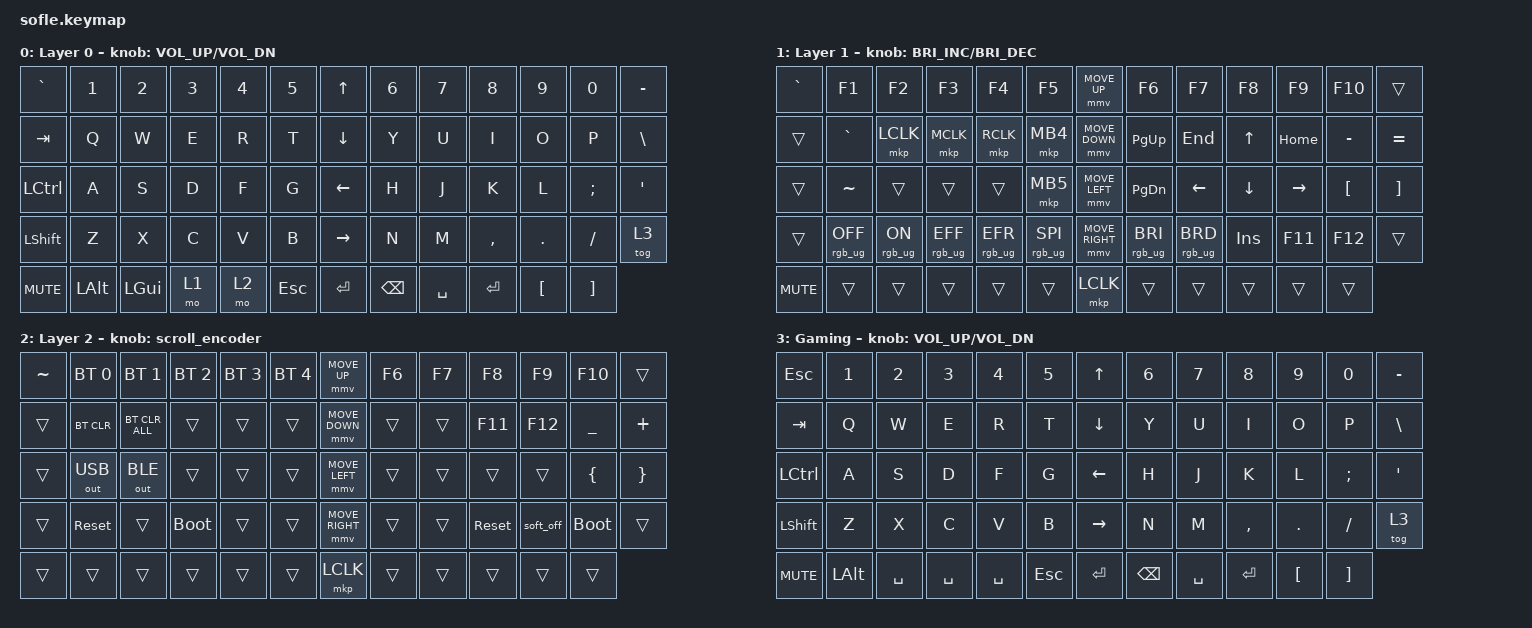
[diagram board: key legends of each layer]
#include <behaviors/mouse_keys.dtsi>
#include <behaviors.dtsi>
#include <dt-bindings/zmk/bt.h>
#include <dt-bindings/zmk/keys.h>
#include <dt-bindings/zmk/mouse.h>
#include <dt-bindings/zmk/outputs.h>
#include <dt-bindings/zmk/rgb.h>

#define ZMK_MOUSE_DEFAULT_MOVE_VAL 1200  // 600
#define ZMK_MOUSE_DEFAULT_SCRL_VAL 20    // 10
#define U_MS_U &mmv MOVE_UP
#define U_MS_D &mmv MOVE_DOWN
#define U_MS_L &mmv MOVE_LEFT
#define U_MS_R &mmv MOVE_RIGHT
#define ZMK_MOUSE_DEFAULT_MOVE_VAL 1200  //  600
#define ZMK_MOUSE_DEFAULT_SCRL_VAL 20    // 10

/ {
    behaviors {
        mmv {
            acceleration-exponent = <1>;      // 1
            time-to-max-speed-ms = <900>;    // 40
            delay-ms = <0>;                   // 0
        };

        msc {
            acceleration-exponent = <1>;      // 0
            time-to-max-speed-ms = <400>;      // 500
            delay-ms = <0>;                   //   10
        };
    };

    scroll_encoder: scroll_encoder {
        compatible = "zmk,behavior-sensor-rotate";
        #sensor-binding-cells = <0>;
        bindings = <&msc SCRL_DOWN>, <&msc SCRL_UP>;

        tap-ms = <30>;
    };

    keymap {
        compatible = "zmk,keymap";

        layer_0 {
            bindings = <
&kp GRAVE         &kp N1        &kp N2        &kp N3  &kp N4  &kp N5        &kp UP_ARROW     &kp N6         &kp N7     &kp N8     &kp N9    &kp N0    &kp MINUS
&kp TAB           &kp Q         &kp W         &kp E   &kp R   &kp T         &kp DOWN_ARROW   &kp Y          &kp U      &kp I      &kp O     &kp P     &kp BSLH
&kp LEFT_CONTROL  &kp A         &kp S         &kp D   &kp F   &kp G         &kp LEFT_ARROW   &kp H          &kp J      &kp K      &kp L     &kp SEMI  &kp APOS
&kp LSHFT         &kp Z         &kp X         &kp C   &kp V   &kp B         &kp RIGHT_ARROW  &kp N          &kp M      &kp COMMA  &kp DOT   &kp FSLH  &tog 3
&kp C_MUTE        &kp LEFT_ALT  &kp LEFT_GUI  &mo 1   &mo 2   &kp ESCAPE    &kp ENTER        &kp BACKSPACE  &kp SPACE  &kp ENTER  &kp LBKT  &kp RBKT
            >;

            sensor-bindings = <&inc_dec_kp C_VOLUME_UP C_VOL_DN>;
            display-name = "Layer 0";
        };

        layer_1 {
            bindings = <
&kp GRAVE   &kp F1           &kp F2          &kp F3           &kp F4           &kp F5             &mmv MOVE_UP     &kp F6           &kp F7           &kp F8      &kp F9     &kp F10           &trans
&trans      &kp GRAVE        &mkp LCLK       &mkp MCLK        &mkp RCLK        &mkp MB4           &mmv MOVE_DOWN   &kp PG_UP        &kp END          &kp UP      &kp HOME   &kp MINUS         &kp EQUAL
&trans      &kp TILDE        &trans          &trans           &trans           &mkp MB5           &mmv MOVE_LEFT   &kp PG_DN        &kp LEFT         &kp DOWN    &kp RIGHT  &kp LEFT_BRACKET  &kp RIGHT_BRACKET
&trans      &rgb_ug RGB_OFF  &rgb_ug RGB_ON  &rgb_ug RGB_EFF  &rgb_ug RGB_EFR  &rgb_ug RGB_SPI    &mmv MOVE_RIGHT  &rgb_ug RGB_BRI  &rgb_ug RGB_BRD  &kp INSERT  &kp F11    &kp F12           &trans
&kp C_MUTE  &trans           &trans          &trans           &trans           &trans             &mkp LCLK        &trans           &trans           &trans      &trans     &trans
            >;

            display-name = "Layer 1";
            sensor-bindings = <&inc_dec_kp C_BRIGHTNESS_INC C_BRIGHTNESS_DEC>;
        };

        layer_2 {
            bindings = <
&kp TILDE  &bt BT_SEL 0  &bt BT_SEL 1    &bt BT_SEL 2  &bt BT_SEL 3  &bt BT_SEL 4    &mmv MOVE_UP     &kp F6  &kp F7  &kp F8      &kp F9     &kp F10      &trans
&trans     &bt BT_CLR    &bt BT_CLR_ALL  &trans        &trans        &trans          &mmv MOVE_DOWN   &trans  &trans  &kp F11     &kp F12    &kp UNDER    &kp PLUS
&trans     &out OUT_USB  &out OUT_BLE    &trans        &trans        &trans          &mmv MOVE_LEFT   &trans  &trans  &trans      &trans     &kp LBRC     &kp RBRC
&trans     &sys_reset    &trans          &bootloader   &trans        &trans          &mmv MOVE_RIGHT  &trans  &trans  &sys_reset  &soft_off  &bootloader  &trans
&trans     &trans        &trans          &trans        &trans        &trans          &mkp LCLK        &trans  &trans  &trans      &trans     &trans
            >;

            sensor-bindings = <&scroll_encoder>;
            display-name = "Layer 2";
        };

        layer_3 {
            bindings = <
&kp ESCAPE        &kp N1        &kp N2     &kp N3     &kp N4     &kp N5        &kp UP_ARROW     &kp N6         &kp N7     &kp N8     &kp N9    &kp N0    &kp MINUS
&kp TAB           &kp Q         &kp W      &kp E      &kp R      &kp T         &kp DOWN_ARROW   &kp Y          &kp U      &kp I      &kp O     &kp P     &kp BSLH
&kp LEFT_CONTROL  &kp A         &kp S      &kp D      &kp F      &kp G         &kp LEFT_ARROW   &kp H          &kp J      &kp K      &kp L     &kp SEMI  &kp APOS
&kp LSHFT         &kp Z         &kp X      &kp C      &kp V      &kp B         &kp RIGHT_ARROW  &kp N          &kp M      &kp COMMA  &kp DOT   &kp FSLH  &tog 3
&kp C_MUTE        &kp LEFT_ALT  &kp SPACE  &kp SPACE  &kp SPACE  &kp ESCAPE    &kp ENTER        &kp BACKSPACE  &kp SPACE  &kp ENTER  &kp LBKT  &kp RBKT
            >;

            sensor-bindings = <&inc_dec_kp C_VOLUME_UP C_VOL_DN>;
            display-name = "Gaming";
        };
    };
};
